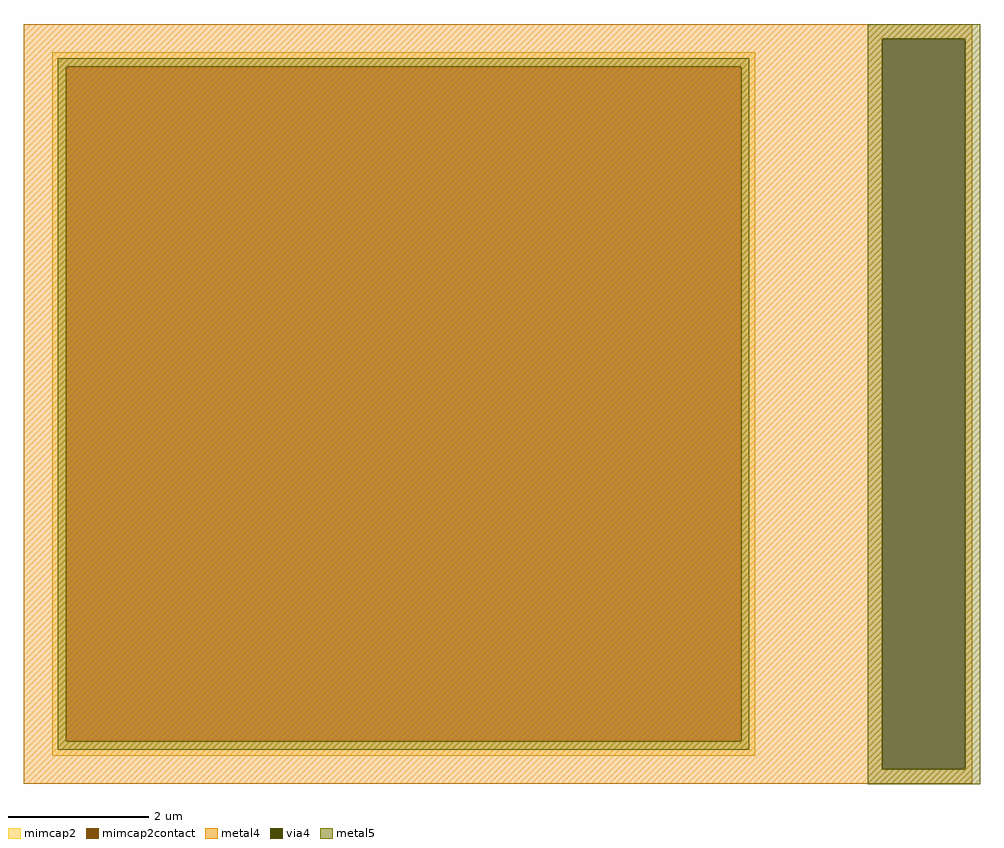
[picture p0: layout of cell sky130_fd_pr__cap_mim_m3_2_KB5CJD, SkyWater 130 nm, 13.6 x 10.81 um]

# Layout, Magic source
magic
tech sky130A
magscale 1 2
<< metal4 >>
rect -1349 1039 1349 1080
rect -1349 -1039 1093 1039
rect 1329 -1039 1349 1039
rect -1349 -1080 1349 -1039
<< via4 >>
rect 1093 -1039 1329 1039
<< mimcap2 >>
rect -1269 960 731 1000
rect -1269 -960 -1229 960
rect 691 -960 731 960
rect -1269 -1000 731 -960
<< mimcap2contact >>
rect -1229 -960 691 960
<< metal5 >>
rect 1051 1039 1371 1081
rect -1253 960 715 984
rect -1253 -960 -1229 960
rect 691 -960 715 960
rect -1253 -984 715 -960
rect 1051 -1039 1093 1039
rect 1329 -1039 1371 1039
rect 1051 -1081 1371 -1039
<< properties >>
string FIXED_BBOX -1349 -1080 811 1080
string gencell sky130_fd_pr__cap_mim_m3_2
string library sky130
string parameters w 10.00 l 10.00 val 207.6 carea 2.00 cperi 0.19 nx 1 ny 1 dummy 0 square 0 lmin 2.00 wmin 2.00 lmax 30.0 wmax 30.0 dc 0 bconnect 1 tconnect 1 ccov 100
<< end >>
